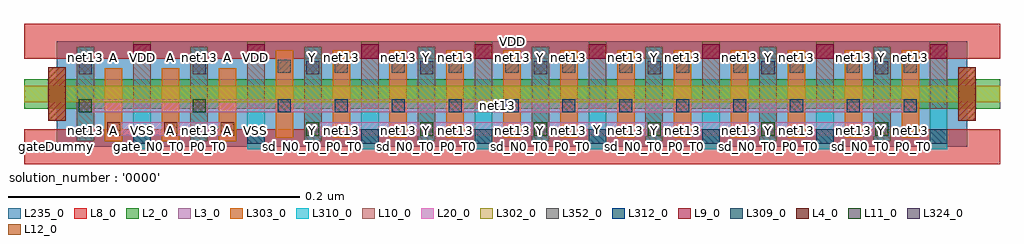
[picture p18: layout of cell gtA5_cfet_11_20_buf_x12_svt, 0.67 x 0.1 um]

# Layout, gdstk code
import gdstk
lib = gdstk.Library(unit=1e-6, precision=2.5e-10)
def R(c, l, rs):  # rectangles x0, y0, x1, y1
    for r in rs: c.add(gdstk.rectangle(r[:2], r[2:], *l))
def A(c, l, x, y, w, h, nx, ny, dx, dy):  # array of equal rectangles
    R(c, l, [(x+i*dx, y+j*dy, x+i*dx+w, y+j*dy+h) for i in range(nx) for j in range(ny)])
L2_0 = (2, 0)
L3_0 = (3, 0)
L4_0 = (4, 0)
L8_0 = (8, 0)
L9_0 = (9, 0)
L10_0 = (10, 0)
L11_0 = (11, 0)
L12_0 = (12, 0)
L20_0 = (20, 0)
L235_0 = (235, 0)
L302_0 = (302, 0)
L303_0 = (303, 0)
L309_0 = (309, 0)
L310_0 = (310, 0)
L312_0 = (312, 0)
L324_0 = (324, 0)
L352_0 = (352, 0)

gta5_cfet_11_20_buf_x12_ = lib.new_cell('gtA5_cfet_11_20_buf_x12_svt')
R(gta5_cfet_11_20_buf_x12_, L2_0, [(-0.0225,0.026,0.6465,0.046)])
A(gta5_cfet_11_20_buf_x12_, L3_0, 0.033, 0.0035, 0.012, 0.05, 3, 1, 0.039, 0)
A(gta5_cfet_11_20_buf_x12_, L3_0, 0.15, 0.006, 0.012, 0.06, 12, 1, 0.039, 0)
R(gta5_cfet_11_20_buf_x12_, L3_0, [(-0.006,0.0175,0.006,0.0545), (0.618,0.0175,0.63,0.0545)])
R(gta5_cfet_11_20_buf_x12_, L4_0, [(-0.006,0.0175,0.006,0.0545), (0.618,0.0175,0.63,0.0545)])
R(gta5_cfet_11_20_buf_x12_, L8_0, [(-0.0225,-0.012,0.6465,0.012), (-0.0225,0.06,0.6465,0.084)])
A(gta5_cfet_11_20_buf_x12_, L9_0, 0.0525, 0.06, 0.012, 0.01, 8, 1, 0.078, 0)
A(gta5_cfet_11_20_buf_x12_, L10_0, 0.0135, 0.0035, 0.012, 0.065, 8, 1, 0.078, 0)
A(gta5_cfet_11_20_buf_x12_, L10_0, 0.0525, 0.026, 0.012, 0.046, 8, 1, 0.078, 0)
A(gta5_cfet_11_20_buf_x12_, L11_0, 0.171, 0.0075, 0.009, 0.009, 6, 1, 0.078, 0)
R(gta5_cfet_11_20_buf_x12_, L11_0, [(0.015,0.0235,0.024,0.0325), (0.093,0.0235,0.102,0.0325)])
A(gta5_cfet_11_20_buf_x12_, L12_0, 0.0345, 0.0075, 0.009, 0.009, 3, 1, 0.039, 0)
R(gta5_cfet_11_20_buf_x12_, L20_0, [(0.0345,0.0075,0.1215,0.0165), (0.171,0.0075,0.57,0.0165), (0.015,0.0235,0.5895,0.0325)])
R(gta5_cfet_11_20_buf_x12_, L235_0, [(0,0,0.624,0.072)])
R(gta5_cfet_11_20_buf_x12_, L302_0, [(-0.0225,0.0305,0.6465,0.0415)])
A(gta5_cfet_11_20_buf_x12_, L303_0, 0.033, 0.0035, 0.012, 0.05, 3, 1, 0.039, 0)
A(gta5_cfet_11_20_buf_x12_, L303_0, 0.15, 0.006, 0.012, 0.06, 12, 1, 0.039, 0)
R(gta5_cfet_11_20_buf_x12_, L303_0, [(-0.006,0.0175,0.006,0.0545), (0.618,0.0175,0.63,0.0545)])
A(gta5_cfet_11_20_buf_x12_, L309_0, 0.0525, 0.002, 0.012, 0.01, 8, 1, 0.078, 0)
A(gta5_cfet_11_20_buf_x12_, L310_0, 0.0525, -0.002, 0.012, 0.048, 8, 1, 0.078, 0)
A(gta5_cfet_11_20_buf_x12_, L310_0, 0.0135, 0.0035, 0.012, 0.065, 8, 1, 0.078, 0)
A(gta5_cfet_11_20_buf_x12_, L312_0, 0.1515, 0.0235, 0.009, 0.009, 12, 1, 0.039, 0)
A(gta5_cfet_11_20_buf_x12_, L324_0, 0.015, 0.0495, 0.009, 0.009, 8, 1, 0.078, 0)
A(gta5_cfet_11_20_buf_x12_, L352_0, 0.1515, 0.0505, 0.009, 0.009, 12, 1, 0.039, 0)
gta5_cfet_11_20_buf_x12_.add(gdstk.Label('net13', (0.3023,0.028), layer=100, texttype=100))
gta5_cfet_11_20_buf_x12_.add(gdstk.Label('gateDummy', (0,0), layer=103, texttype=103))
gta5_cfet_11_20_buf_x12_.add(gdstk.Label('sd_N0_T1_P0_T1', (0.0195,0), layer=103, texttype=103))
gta5_cfet_11_20_buf_x12_.add(gdstk.Label('gate_N0_T0_P0_T0', (0.039,0), layer=103, texttype=103))
gta5_cfet_11_20_buf_x12_.add(gdstk.Label('sd_N0_VSS_P0_VDD', (0.0585,0), layer=103, texttype=103))
gta5_cfet_11_20_buf_x12_.add(gdstk.Label('gate_N0_T0_P0_T0', (0.078,0), layer=103, texttype=103))
gta5_cfet_11_20_buf_x12_.add(gdstk.Label('sd_N0_T1_P0_T1', (0.0975,0), layer=103, texttype=103))
gta5_cfet_11_20_buf_x12_.add(gdstk.Label('gate_N0_T0_P0_T0', (0.117,0), layer=103, texttype=103))
gta5_cfet_11_20_buf_x12_.add(gdstk.Label('sd_N0_VSS_P0_VDD', (0.1365,0), layer=103, texttype=103))
gta5_cfet_11_20_buf_x12_.add(gdstk.Label('gate_N0_T1_P0_T1', (0.156,0), layer=103, texttype=103))
gta5_cfet_11_20_buf_x12_.add(gdstk.Label('sd_N0_T0_P0_T0', (0.1755,0), layer=103, texttype=103))
gta5_cfet_11_20_buf_x12_.add(gdstk.Label('gate_N0_T1_P0_T1', (0.195,0), layer=103, texttype=103))
gta5_cfet_11_20_buf_x12_.add(gdstk.Label('sd_N0_VSS_P0_VDD', (0.2145,0), layer=103, texttype=103))
gta5_cfet_11_20_buf_x12_.add(gdstk.Label('gate_N0_T1_P0_T1', (0.234,0), layer=103, texttype=103))
gta5_cfet_11_20_buf_x12_.add(gdstk.Label('sd_N0_T0_P0_T0', (0.2535,0), layer=103, texttype=103))
gta5_cfet_11_20_buf_x12_.add(gdstk.Label('gate_N0_T1_P0_T1', (0.273,0), layer=103, texttype=103))
gta5_cfet_11_20_buf_x12_.add(gdstk.Label('sd_N0_VSS_P0_VDD', (0.2925,0), layer=103, texttype=103))
gta5_cfet_11_20_buf_x12_.add(gdstk.Label('gate_N0_T1_P0_T1', (0.312,0), layer=103, texttype=103))
gta5_cfet_11_20_buf_x12_.add(gdstk.Label('sd_N0_T0_P0_T0', (0.3315,0), layer=103, texttype=103))
gta5_cfet_11_20_buf_x12_.add(gdstk.Label('gate_N0_T1_P0_T1', (0.351,0), layer=103, texttype=103))
gta5_cfet_11_20_buf_x12_.add(gdstk.Label('sd_N0_VSS_P0_VDD', (0.3705,0), layer=103, texttype=103))
gta5_cfet_11_20_buf_x12_.add(gdstk.Label('gate_N0_T1_P0_T1', (0.39,0), layer=103, texttype=103))
gta5_cfet_11_20_buf_x12_.add(gdstk.Label('sd_N0_T0_P0_T0', (0.4095,0), layer=103, texttype=103))
gta5_cfet_11_20_buf_x12_.add(gdstk.Label('gate_N0_T1_P0_T1', (0.429,0), layer=103, texttype=103))
gta5_cfet_11_20_buf_x12_.add(gdstk.Label('sd_N0_VSS_P0_VDD', (0.4485,0), layer=103, texttype=103))
gta5_cfet_11_20_buf_x12_.add(gdstk.Label('gate_N0_T1_P0_T1', (0.468,0), layer=103, texttype=103))
gta5_cfet_11_20_buf_x12_.add(gdstk.Label('sd_N0_T0_P0_T0', (0.4875,0), layer=103, texttype=103))
gta5_cfet_11_20_buf_x12_.add(gdstk.Label('gate_N0_T1_P0_T1', (0.507,0), layer=103, texttype=103))
gta5_cfet_11_20_buf_x12_.add(gdstk.Label('sd_N0_VSS_P0_VDD', (0.5265,0), layer=103, texttype=103))
gta5_cfet_11_20_buf_x12_.add(gdstk.Label('gate_N0_T1_P0_T1', (0.546,0), layer=103, texttype=103))
gta5_cfet_11_20_buf_x12_.add(gdstk.Label('sd_N0_T0_P0_T0', (0.5655,0), layer=103, texttype=103))
gta5_cfet_11_20_buf_x12_.add(gdstk.Label('gate_N0_T1_P0_T1', (0.585,0), layer=103, texttype=103))
gta5_cfet_11_20_buf_x12_.add(gdstk.Label('sd_N0_VSS_P0_VDD', (0.6045,0), layer=103, texttype=103))
gta5_cfet_11_20_buf_x12_.add(gdstk.Label('gateDummy', (0.624,0), layer=103, texttype=103))
gta5_cfet_11_20_buf_x12_.add(gdstk.Label('}', (0,-0.0785), layer=104, texttype=104))
gta5_cfet_11_20_buf_x12_.add(gdstk.Label('  power : None', (0,-0.0713), layer=104, texttype=104))
gta5_cfet_11_20_buf_x12_.add(gdstk.Label('  performance : None', (0,-0.0643), layer=104, texttype=104))
gta5_cfet_11_20_buf_x12_.add(gdstk.Label("  solution_hash : '1809037798325162150'", (0,-0.057), layer=104, texttype=104))
gta5_cfet_11_20_buf_x12_.add(gdstk.Label('  number_m2 : 0', (0,-0.05), layer=104, texttype=104))
gta5_cfet_11_20_buf_x12_.add(gdstk.Label('  number_m1 : 0', (0,-0.0428), layer=104, texttype=104))
gta5_cfet_11_20_buf_x12_.add(gdstk.Label('  number_m0cuts : 0', (0,-0.0358), layer=104, texttype=104))
gta5_cfet_11_20_buf_x12_.add(gdstk.Label('  number_m0 : 3', (0,-0.0285), layer=104, texttype=104))
gta5_cfet_11_20_buf_x12_.add(gdstk.Label("  solution_number : '0000'", (0,-0.0215), layer=104, texttype=104))
gta5_cfet_11_20_buf_x12_.add(gdstk.Label("  placement_id : '10143793203804928687'", (0,-0.0143), layer=104, texttype=104))
gta5_cfet_11_20_buf_x12_.add(gdstk.Label('{', (0,-0.0073), layer=104, texttype=104))
gta5_cfet_11_20_buf_x12_.add(gdstk.Label('net13', (0.0195,0.0108), layer=105, texttype=105))
gta5_cfet_11_20_buf_x12_.add(gdstk.Label('A', (0.039,0.0108), layer=105, texttype=105))
gta5_cfet_11_20_buf_x12_.add(gdstk.Label('VSS', (0.0585,0.0108), layer=105, texttype=105))
gta5_cfet_11_20_buf_x12_.add(gdstk.Label('A', (0.078,0.0108), layer=105, texttype=105))
gta5_cfet_11_20_buf_x12_.add(gdstk.Label('net13', (0.0975,0.0108), layer=105, texttype=105))
gta5_cfet_11_20_buf_x12_.add(gdstk.Label('A', (0.117,0.0108), layer=105, texttype=105))
gta5_cfet_11_20_buf_x12_.add(gdstk.Label('VSS', (0.1365,0.0108), layer=105, texttype=105))
gta5_cfet_11_20_buf_x12_.add(gdstk.Label('net13', (0.156,0.0108), layer=105, texttype=105))
gta5_cfet_11_20_buf_x12_.add(gdstk.Label('Y', (0.1755,0.0108), layer=105, texttype=105))
gta5_cfet_11_20_buf_x12_.add(gdstk.Label('net13', (0.195,0.0108), layer=105, texttype=105))
gta5_cfet_11_20_buf_x12_.add(gdstk.Label('VSS', (0.2145,0.0108), layer=105, texttype=105))
gta5_cfet_11_20_buf_x12_.add(gdstk.Label('net13', (0.234,0.0108), layer=105, texttype=105))
gta5_cfet_11_20_buf_x12_.add(gdstk.Label('Y', (0.2535,0.0108), layer=105, texttype=105))
gta5_cfet_11_20_buf_x12_.add(gdstk.Label('net13', (0.273,0.0108), layer=105, texttype=105))
gta5_cfet_11_20_buf_x12_.add(gdstk.Label('VSS', (0.2925,0.0108), layer=105, texttype=105))
gta5_cfet_11_20_buf_x12_.add(gdstk.Label('net13', (0.312,0.0108), layer=105, texttype=105))
gta5_cfet_11_20_buf_x12_.add(gdstk.Label('Y', (0.3315,0.0108), layer=105, texttype=105))
gta5_cfet_11_20_buf_x12_.add(gdstk.Label('net13', (0.351,0.0108), layer=105, texttype=105))
gta5_cfet_11_20_buf_x12_.add(gdstk.Label('VSS', (0.3705,0.0108), layer=105, texttype=105))
gta5_cfet_11_20_buf_x12_.add(gdstk.Label('net13', (0.39,0.0108), layer=105, texttype=105))
gta5_cfet_11_20_buf_x12_.add(gdstk.Label('Y', (0.4095,0.0108), layer=105, texttype=105))
gta5_cfet_11_20_buf_x12_.add(gdstk.Label('net13', (0.429,0.0108), layer=105, texttype=105))
gta5_cfet_11_20_buf_x12_.add(gdstk.Label('VSS', (0.4485,0.0108), layer=105, texttype=105))
gta5_cfet_11_20_buf_x12_.add(gdstk.Label('net13', (0.468,0.0108), layer=105, texttype=105))
gta5_cfet_11_20_buf_x12_.add(gdstk.Label('Y', (0.4875,0.0108), layer=105, texttype=105))
gta5_cfet_11_20_buf_x12_.add(gdstk.Label('net13', (0.507,0.0108), layer=105, texttype=105))
gta5_cfet_11_20_buf_x12_.add(gdstk.Label('VSS', (0.5265,0.0108), layer=105, texttype=105))
gta5_cfet_11_20_buf_x12_.add(gdstk.Label('net13', (0.546,0.0108), layer=105, texttype=105))
gta5_cfet_11_20_buf_x12_.add(gdstk.Label('Y', (0.5655,0.0108), layer=105, texttype=105))
gta5_cfet_11_20_buf_x12_.add(gdstk.Label('net13', (0.585,0.0108), layer=105, texttype=105))
gta5_cfet_11_20_buf_x12_.add(gdstk.Label('VSS', (0.6045,0.0108), layer=105, texttype=105))
gta5_cfet_11_20_buf_x12_.add(gdstk.Label('net13', (0.0195,0.0612), layer=105, texttype=105))
gta5_cfet_11_20_buf_x12_.add(gdstk.Label('A', (0.039,0.0612), layer=105, texttype=105))
gta5_cfet_11_20_buf_x12_.add(gdstk.Label('VDD', (0.0585,0.0612), layer=105, texttype=105))
gta5_cfet_11_20_buf_x12_.add(gdstk.Label('A', (0.078,0.0612), layer=105, texttype=105))
gta5_cfet_11_20_buf_x12_.add(gdstk.Label('net13', (0.0975,0.0612), layer=105, texttype=105))
gta5_cfet_11_20_buf_x12_.add(gdstk.Label('A', (0.117,0.0612), layer=105, texttype=105))
gta5_cfet_11_20_buf_x12_.add(gdstk.Label('VDD', (0.1365,0.0612), layer=105, texttype=105))
gta5_cfet_11_20_buf_x12_.add(gdstk.Label('net13', (0.156,0.0612), layer=105, texttype=105))
gta5_cfet_11_20_buf_x12_.add(gdstk.Label('Y', (0.1755,0.0612), layer=105, texttype=105))
gta5_cfet_11_20_buf_x12_.add(gdstk.Label('net13', (0.195,0.0612), layer=105, texttype=105))
gta5_cfet_11_20_buf_x12_.add(gdstk.Label('VDD', (0.2145,0.0612), layer=105, texttype=105))
gta5_cfet_11_20_buf_x12_.add(gdstk.Label('net13', (0.234,0.0612), layer=105, texttype=105))
gta5_cfet_11_20_buf_x12_.add(gdstk.Label('Y', (0.2535,0.0612), layer=105, texttype=105))
gta5_cfet_11_20_buf_x12_.add(gdstk.Label('net13', (0.273,0.0612), layer=105, texttype=105))
gta5_cfet_11_20_buf_x12_.add(gdstk.Label('VDD', (0.2925,0.0612), layer=105, texttype=105))
gta5_cfet_11_20_buf_x12_.add(gdstk.Label('net13', (0.312,0.0612), layer=105, texttype=105))
gta5_cfet_11_20_buf_x12_.add(gdstk.Label('Y', (0.3315,0.0612), layer=105, texttype=105))
gta5_cfet_11_20_buf_x12_.add(gdstk.Label('net13', (0.351,0.0612), layer=105, texttype=105))
gta5_cfet_11_20_buf_x12_.add(gdstk.Label('VDD', (0.3705,0.0612), layer=105, texttype=105))
gta5_cfet_11_20_buf_x12_.add(gdstk.Label('net13', (0.39,0.0612), layer=105, texttype=105))
gta5_cfet_11_20_buf_x12_.add(gdstk.Label('Y', (0.4095,0.0612), layer=105, texttype=105))
gta5_cfet_11_20_buf_x12_.add(gdstk.Label('net13', (0.429,0.0612), layer=105, texttype=105))
gta5_cfet_11_20_buf_x12_.add(gdstk.Label('VDD', (0.4485,0.0612), layer=105, texttype=105))
gta5_cfet_11_20_buf_x12_.add(gdstk.Label('net13', (0.468,0.0612), layer=105, texttype=105))
gta5_cfet_11_20_buf_x12_.add(gdstk.Label('Y', (0.4875,0.0612), layer=105, texttype=105))
gta5_cfet_11_20_buf_x12_.add(gdstk.Label('net13', (0.507,0.0612), layer=105, texttype=105))
gta5_cfet_11_20_buf_x12_.add(gdstk.Label('VDD', (0.5265,0.0612), layer=105, texttype=105))
gta5_cfet_11_20_buf_x12_.add(gdstk.Label('net13', (0.546,0.0612), layer=105, texttype=105))
gta5_cfet_11_20_buf_x12_.add(gdstk.Label('Y', (0.5655,0.0612), layer=105, texttype=105))
gta5_cfet_11_20_buf_x12_.add(gdstk.Label('net13', (0.585,0.0612), layer=105, texttype=105))
gta5_cfet_11_20_buf_x12_.add(gdstk.Label('VDD', (0.6045,0.0612), layer=105, texttype=105))
gta5_cfet_11_20_buf_x12_.add(gdstk.Label('VSS', (0.312,0), layer=8, texttype=0))
gta5_cfet_11_20_buf_x12_.add(gdstk.Label('VDD', (0.312,0.072), layer=8, texttype=0))
gta5_cfet_11_20_buf_x12_.add(gdstk.Label('A', (0.078,0.012), layer=20, texttype=251))
gta5_cfet_11_20_buf_x12_.add(gdstk.Label('Y', (0.3705,0.012), layer=20, texttype=251))
gta5_cfet_11_20_buf_x12_.add(gdstk.Label('gtA5_cfet_11_20_buf_x12_rvt_0', (0,0), layer=235, texttype=0))

lib.write_gds('gtA5_cfet_11_20_buf_x12_svt.gds')
